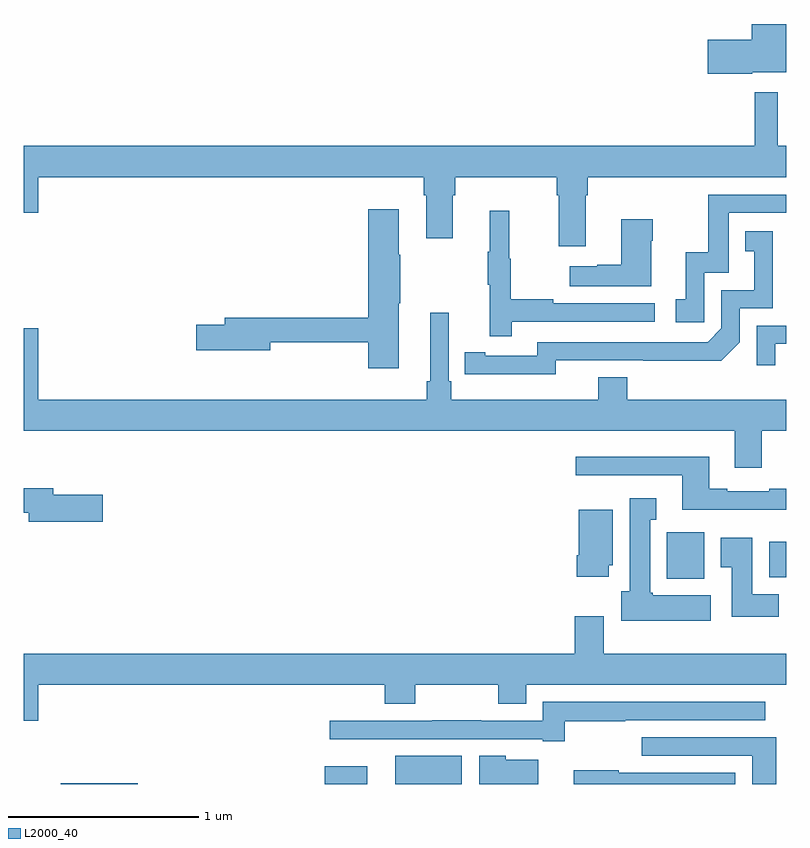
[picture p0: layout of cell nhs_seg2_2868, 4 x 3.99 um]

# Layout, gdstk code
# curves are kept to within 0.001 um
import gdstk
lib = gdstk.Library(unit=1e-6, precision=1e-09)
def R(c, l, rs):  # rectangles x0, y0, x1, y1
    for r in rs: c.add(gdstk.rectangle(r[:2], r[2:], *l))
def P(c, l, *ps):  # polygons
    for p in ps: c.add(gdstk.Polygon(p, *l))
L2000_40 = (2000, 40)

nhs_seg2_2868 = lib.new_cell('nhs_seg2_2868')
R(nhs_seg2_2868, L2000_40, [(261.194,629.8,261.598,629.804), (262.58,629.8,262.801,629.893), (262.949,629.8,263.299,629.947), (264.374,630.878,264.571,631.12), (264.911,630.884,265,631.072)])
P(nhs_seg2_2868, L2000_40, [(264.822,633.533),(265,633.533),(265,633.787),(264.818,633.787),(264.818,633.704),(264.588,633.704),(264.588,633.526),(264.822,633.526)],
  [(261,632.796),(261.076,632.796),(261.076,632.984),(263.099,632.984),(263.099,632.888),(263.111,632.888),(263.111,632.664),(263.251,632.664),(263.251,632.888),(263.264,632.888),(263.264,632.984),(263.795,632.984),(263.795,632.888),(263.807,632.888),(263.807,632.622),(263.947,632.622),(263.947,632.888),(263.96,632.888),(263.96,632.984),(265,632.984),(265,633.148),(264.955,633.148),(264.955,633.43),(264.834,633.43),(264.834,633.148),(261,633.148)],
  [(264.57,632.481),(264.699,632.481),(264.699,632.796),(265,632.796),(265,632.892),(264.591,632.892),(264.591,632.59),(264.473,632.59),(264.473,632.343),(264.42,632.343),(264.42,632.223),(264.57,632.223)],
  [(262.966,632.323),(262.974,632.323),(262.974,632.576),(262.966,632.576),(262.966,632.815),(262.808,632.815),(262.808,632.246),(262.055,632.246),(262.055,632.21),(261.906,632.21),(261.906,632.075),(262.294,632.075),(262.294,632.118),(262.808,632.118),(262.808,631.98),(262.966,631.98)],
  [(263.561,632.226),(264.31,632.226),(264.31,632.322),(263.777,632.322),(263.777,632.342),(263.554,632.342),(263.554,632.556),(263.546,632.556),(263.546,632.806),(263.444,632.806),(263.444,632.593),(263.433,632.593),(263.433,632.419),(263.444,632.419),(263.444,632.148),(263.561,632.148)],
  [(264.292,632.651),(264.3,632.651),(264.3,632.764),(264.134,632.764),(264.134,632.525),(264.008,632.525),(264.008,632.515),(263.865,632.515),(263.865,632.411),(264.292,632.411)],
  [(263.79,632.022),(264.658,632.021),(264.756,632.118),(264.756,632.295),(264.93,632.295),(264.93,632.701),(264.784,632.701),(264.784,632.595),(264.833,632.595),(264.833,632.391),(264.66,632.391),(264.66,632.19),(264.588,632.118),(263.694,632.118),(263.694,632.046),(263.422,632.046),(263.422,632.066),(263.314,632.066),(263.314,631.95),(263.79,631.949)],
  [(264.871,631.652),(265,631.652),(265,631.816),(264.167,631.816),(264.167,631.933),(264.014,631.933),(264.014,631.816),(263.243,631.816),(263.243,631.912),(263.229,631.912),(263.229,632.272),(263.132,632.272),(263.132,631.912),(263.113,631.912),(263.113,631.816),(261.076,631.816),(261.076,632.191),(261,632.191),(261,631.652),(264.731,631.652),(264.731,631.458),(264.871,631.458)],
  [(264.943,632.109),(265,632.109),(265,632.205),(264.846,632.205),(264.846,631.998),(264.943,631.998)],
  [(265,631.348),(264.911,631.348),(264.911,631.335),(264.691,631.335),(264.691,631.348),(264.595,631.348),(264.595,631.516),(263.895,631.516),(263.895,631.419),(264.455,631.419),(264.455,631.238),(265,631.238)],
  [(261.415,631.317),(261.154,631.317),(261.154,631.351),(261,631.351),(261,631.222),(261.026,631.222),(261.026,631.175),(261.415,631.175)],
  [(264.604,630.79),(264.3,630.79),(264.3,630.804),(264.286,630.804),(264.286,631.187),(264.319,631.187),(264.319,631.3),(264.179,631.3),(264.179,630.81),(264.134,630.81),(264.134,630.656),(264.604,630.656)],
  [(264.07,630.948),(264.091,630.948),(264.091,631.24),(263.912,631.24),(263.912,631),(263.9,631),(263.9,630.888),(264.07,630.888)],
  [(264.962,630.796),(264.823,630.796),(264.823,631.093),(264.656,631.093),(264.656,630.937),(264.713,630.937),(264.713,630.678),(264.962,630.678)],
  [(261.076,630.32),(262.895,630.32),(262.895,630.221),(263.055,630.221),(263.055,630.32),(263.488,630.32),(263.488,630.221),(263.635,630.221),(263.635,630.32),(265,630.32),(265,630.484),(264.043,630.484),(264.043,630.679),(263.891,630.679),(263.891,630.484),(261,630.484),(261,630.132),(261.076,630.132)],
  [(263.837,630.13),(264.155,630.13),(264.155,630.135),(264.889,630.135),(264.889,630.231),(263.723,630.231),(263.723,630.132),(263.399,630.132),(263.399,630.134),(263.143,630.134),(263.143,630.132),(262.605,630.132),(262.605,630.035),(262.853,630.035),(262.853,630.036),(263.723,630.036),(263.723,630.024),(263.837,630.024)],
  [(264.947,630.045),(264.243,630.045),(264.243,629.949),(264.821,629.949),(264.821,629.8),(264.947,629.8)],
  [(263.698,629.926),(263.529,629.926),(263.529,629.947),(263.39,629.947),(263.39,629.8),(263.698,629.8)],
  [(264.733,629.859),(264.121,629.859),(264.121,629.872),(263.885,629.872),(263.885,629.8),(264.733,629.8)])

lib.write_gds('nhs_seg2_2868.gds')
